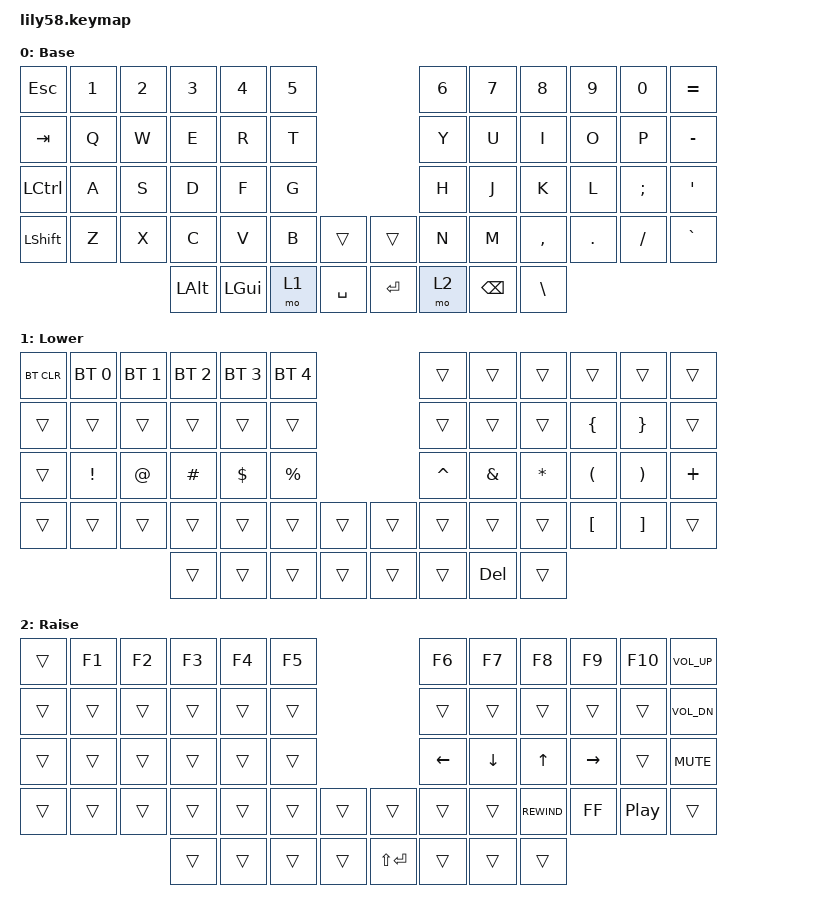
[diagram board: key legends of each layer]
/*
 * Copyright (c) 2020 The ZMK Contributors
 *
 * SPDX-License-Identifier: MIT
 */

#include <behaviors.dtsi>
#include <dt-bindings/zmk/bt.h>
#include <dt-bindings/zmk/keys.h>

/ {
    keymap {
        compatible = "zmk,keymap";

        default_layer {
            // ------------------------------------------------------------------------------------------------------------
            // |  ESC  |  1  |  2  |  3   |  4   |  5   |                   |  6   |  7    |  8    |  9   |   0   |   `   |
            // |  TAB  |  Q  |  W  |  E   |  R   |  T   |                   |  Y   |  U    |  I    |  O   |   P   |   -   |
            // |  CTRL |  A  |  S  |  D   |  F   |  G   |                   |  H   |  J    |  K    |  L   |   ;   |   '   |
            // | SHIFT |  Z  |  X  |  C   |  V   |  B   |   "["  |  |  "]"  |  N   |  M    |  ,    |  .   |   /   | SHIFT |
            //                     | ALT  | GUI  | LOWER|  SPACE |  | ENTER | RAISE| BSPC  | GUI   |

            display-name = "Base";
            bindings = <
&kp ESC           &kp N1  &kp N2  &kp N3    &kp N4    &kp N5                        &kp N6  &kp N7    &kp N8         &kp N9   &kp N0    &kp EQUAL
&kp TAB           &kp Q   &kp W   &kp E     &kp R     &kp T                         &kp Y   &kp U     &kp I          &kp O    &kp P     &kp MINUS
&kp LEFT_CONTROL  &kp A   &kp S   &kp D     &kp F     &kp G                         &kp H   &kp J     &kp K          &kp L    &kp SEMI  &kp SQT
&kp LEFT_SHIFT    &kp Z   &kp X   &kp C     &kp V     &kp B   &trans       &trans   &kp N   &kp M     &kp COMMA      &kp DOT  &kp FSLH  &kp GRAVE
                                  &kp LALT  &kp LGUI  &mo 1   &kp SPACE    &kp RET  &mo 2   &kp BSPC  &kp BACKSLASH
            >;
        };

        lower_layer {
            // ------------------------------------------------------------------------------------------------------------
            // | BTCLR | BT1 | BT2 |  BT3 |  BT4 |  BT5 |                   |      |       |       |      |       |       |
            // |  F1   |  F2 |  F3 |  F4  |  F5  |  F6  |                   |  F7  |  F8   |  F9   |  F10 |  F11  |  F12  |
            // |   `   |  !  |  @  |  #   |  $   |  %   |                   |  ^   |  &    |  *    |  (   |   )   |   ~   |
            // |       |     |     |      |      |      |        |  |       |      |  _    |  +    |  {   |   }   |  "|"  |
            //                     |      |      |      |        |  |       |      |       |       |

            display-name = "Lower";
            bindings = <
&bt BT_CLR  &bt BT_SEL 0     &bt BT_SEL 1  &bt BT_SEL 2  &bt BT_SEL 3  &bt BT_SEL 4                    &trans     &trans         &trans        &trans                &trans                 &trans
&trans      &trans           &trans        &trans        &trans        &trans                          &trans     &trans         &trans        &kp LEFT_BRACE        &kp RIGHT_BRACE        &trans
&trans      &kp EXCLAMATION  &kp AT_SIGN   &kp HASH      &kp DOLLAR    &kp PERCENT                     &kp CARET  &kp AMPERSAND  &kp ASTERISK  &kp LEFT_PARENTHESIS  &kp RIGHT_PARENTHESIS  &kp PLUS
&trans      &trans           &trans        &trans        &trans        &trans        &trans    &trans  &trans     &trans         &trans        &kp LEFT_BRACKET      &kp RIGHT_BRACKET      &trans
                                           &trans        &trans        &trans        &trans    &trans  &trans     &kp DEL        &trans
            >;
        };

        raise_layer {
            // ------------------------------------------------------------------------------------------------------------
            // |       |     |     |      |      |      |                   |      |       |       |      |       |       |
            // |   `   |  1  |  2  |  3   |  4   |  5   |                   |  6   |   7   |   8   |  9   |   0   |       |
            // |   F1  |  F2 |  F3 |  F4  |  F5  |  F6  |                   |      |   <-  |   v   |  ^   |  ->   |       |
            // |   F7  |  F8 |  F9 |  F10 |  F11 |  F12 |        |  |       |  +   |   -   |   =   |  [   |   ]   |   \   |
            //                     |      |      |      |        |  |       |      |       |       |

            display-name = "Raise";
            bindings = <
&trans  &kp F1  &kp F2  &kp F3  &kp F4  &kp F5                           &kp F6    &kp F7    &kp F8        &kp F9     &kp F10   &kp C_VOL_UP
&trans  &trans  &trans  &trans  &trans  &trans                           &trans    &trans    &trans        &trans     &trans    &kp C_VOL_DN
&trans  &trans  &trans  &trans  &trans  &trans                           &kp LEFT  &kp DOWN  &kp UP        &kp RIGHT  &trans    &kp K_MUTE
&trans  &trans  &trans  &trans  &trans  &trans  &trans    &trans         &trans    &trans    &kp C_REWIND  &kp C_FF   &kp C_PP  &trans
                        &trans  &trans  &trans  &trans    &kp LS(ENTER)  &trans    &trans    &trans
            >;
        };
    };
};
